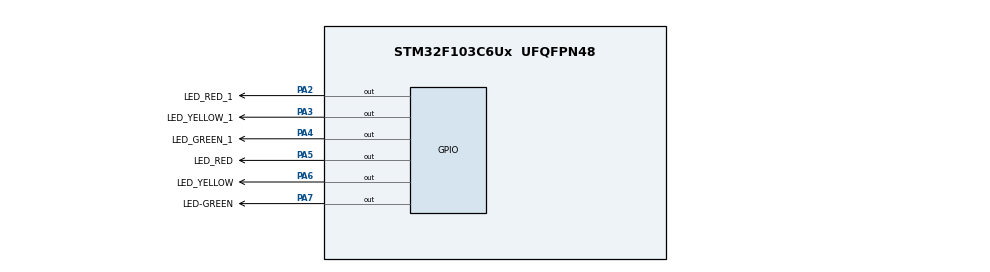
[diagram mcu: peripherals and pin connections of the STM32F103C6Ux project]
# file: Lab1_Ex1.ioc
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Mcu.Family=STM32F1
Mcu.Name=STM32F103C6Ux
Mcu.Package=UFQFPN48
NVIC.PriorityGroup=NVIC_PRIORITYGROUP_4
PA2.GPIO_Label=LED_RED_1
PA2.Signal=GPIO_Output
PA3.GPIO_Label=LED_YELLOW_1
PA3.Signal=GPIO_Output
PA4.GPIO_Label=LED_GREEN_1
PA4.Signal=GPIO_Output
PA5.GPIO_Label=LED_RED
PA5.Signal=GPIO_Output
PA6.GPIO_Label=LED_YELLOW
PA6.Signal=GPIO_Output
PA7.GPIO_Label=LED-GREEN
PA7.Signal=GPIO_Output
ProjectManager.HeapSize=0x200
ProjectManager.StackSize=0x400
ProjectManager.TargetToolchain=STM32CubeIDE
RCC.APB1Freq_Value=8000000
RCC.APB2Freq_Value=8000000
VP_SYS_VS_ND.Mode=No_Debug
board=custom

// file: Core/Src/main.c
/* USER CODE BEGIN Header */
/**
  ******************************************************************************
  * @file           : main.c
  * @brief          : Main program body
  ******************************************************************************
  * @attention
  *
  * <h2><center>&copy; Copyright (c) 2022 STMicroelectronics.
  * All rights reserved.</center></h2>
  *
  * This software component is licensed by ST under BSD 3-Clause license,
  * the "License"; You may not use this file except in compliance with the
  * License. You may obtain a copy of the License at:
  *                        opensource.org/licenses/BSD-3-Clause
  *
  ******************************************************************************
  */
/* USER CODE END Header */
#include "main.h"

void SystemClock_Config(void);
static void MX_GPIO_Init(void);

int main(void)
{

  /* MCU Configuration--------------------------------------------------------*/

  /* Reset of all peripherals, Initializes the Flash interface and the Systick. */
  HAL_Init();

  /* Configure the system clock */
  SystemClock_Config();

  /* Initialize all configured peripherals */
  MX_GPIO_Init();

  /* Infinite loop */
  /* USER CODE BEGIN WHILE */
  while (1)
  {
	  HAL_GPIO_WritePin ( LED_RED_GPIO_Port , LED_RED_Pin , SET ) ;
	  HAL_GPIO_WritePin ( LED_YELLOW_GPIO_Port , LED_YELLOW_Pin , SET ) ;
	  HAL_GPIO_WritePin ( LED_GREEN_GPIO_Port , LED_GREEN_Pin , SET ) ;
	  HAL_GPIO_WritePin ( LED_YELLOW_1_GPIO_Port , LED_YELLOW_1_Pin , SET ) ;
	  HAL_GPIO_WritePin ( LED_GREEN_1_GPIO_Port , LED_GREEN_1_Pin , SET ) ;
	  HAL_GPIO_WritePin ( LED_RED_1_GPIO_Port , LED_RED_1_Pin , SET ) ;

	  HAL_GPIO_WritePin ( LED_RED_GPIO_Port , LED_RED_Pin , RESET ) ;
	  HAL_GPIO_WritePin ( LED_GREEN_1_GPIO_Port , LED_GREEN_1_Pin , RESET ) ;
	  HAL_Delay (3000) ;

	  HAL_GPIO_WritePin ( LED_GREEN_1_GPIO_Port , LED_GREEN_1_Pin , SET ) ;
	  HAL_GPIO_WritePin ( LED_YELLOW_1_GPIO_Port , LED_YELLOW_1_Pin , RESET ) ;
	  HAL_Delay (2000) ;

	  HAL_GPIO_WritePin ( LED_YELLOW_1_GPIO_Port , LED_YELLOW_1_Pin , SET ) ;
	  HAL_GPIO_WritePin ( LED_RED_GPIO_Port , LED_RED_Pin , SET ) ;

	  HAL_GPIO_WritePin ( LED_RED_1_GPIO_Port , LED_RED_1_Pin , RESET ) ;
	  HAL_GPIO_WritePin ( LED_GREEN_GPIO_Port , LED_GREEN_Pin , RESET ) ;
	  HAL_Delay (3000) ;

	  HAL_GPIO_WritePin ( LED_GREEN_GPIO_Port , LED_GREEN_Pin , SET ) ;
	  HAL_GPIO_WritePin ( LED_YELLOW_GPIO_Port , LED_YELLOW_Pin , RESET ) ;
	  HAL_Delay (2000) ;

    /* USER CODE END WHILE */

  }
}

void SystemClock_Config(void)
{
  RCC_OscInitTypeDef RCC_OscInitStruct = {0};
  RCC_ClkInitTypeDef RCC_ClkInitStruct = {0};

  /** Initializes the RCC Oscillators according to the specified parameters
  * in the RCC_OscInitTypeDef structure.
  */
  RCC_OscInitStruct.OscillatorType = RCC_OSCILLATORTYPE_HSI;
  RCC_OscInitStruct.HSIState = RCC_HSI_ON;
  RCC_OscInitStruct.HSICalibrationValue = RCC_HSICALIBRATION_DEFAULT;
  RCC_OscInitStruct.PLL.PLLState = RCC_PLL_NONE;
  if (HAL_RCC_OscConfig(&RCC_OscInitStruct) != HAL_OK)
  {
    Error_Handler();
  }
  /** Initializes the CPU, AHB and APB buses clocks
  */
  RCC_ClkInitStruct.ClockType = RCC_CLOCKTYPE_HCLK|RCC_CLOCKTYPE_SYSCLK
                              |RCC_CLOCKTYPE_PCLK1|RCC_CLOCKTYPE_PCLK2;
  RCC_ClkInitStruct.SYSCLKSource = RCC_SYSCLKSOURCE_HSI;
  RCC_ClkInitStruct.AHBCLKDivider = RCC_SYSCLK_DIV1;
  RCC_ClkInitStruct.APB1CLKDivider = RCC_HCLK_DIV1;
  RCC_ClkInitStruct.APB2CLKDivider = RCC_HCLK_DIV1;

  if (HAL_RCC_ClockConfig(&RCC_ClkInitStruct, FLASH_LATENCY_0) != HAL_OK)
  {
    Error_Handler();
  }
}

static void MX_GPIO_Init(void)
{
  GPIO_InitTypeDef GPIO_InitStruct = {0};

  /* GPIO Ports Clock Enable */
  __HAL_RCC_GPIOA_CLK_ENABLE();

  /*Configure GPIO pin Output Level */
  HAL_GPIO_WritePin(GPIOA, LED_RED_1_Pin|LED_YELLOW_1_Pin|LED_GREEN_1_Pin|LED_RED_Pin
                          |LED_YELLOW_Pin|LED_GREEN_Pin, GPIO_PIN_RESET);

  /*Configure GPIO pins : LED_RED_1_Pin LED_YELLOW_1_Pin LED_GREEN_1_Pin LED_RED_Pin
                           LED_YELLOW_Pin LED_GREEN_Pin */
  GPIO_InitStruct.Pin = LED_RED_1_Pin|LED_YELLOW_1_Pin|LED_GREEN_1_Pin|LED_RED_Pin
                          |LED_YELLOW_Pin|LED_GREEN_Pin;
  GPIO_InitStruct.Mode = GPIO_MODE_OUTPUT_PP;
  GPIO_InitStruct.Pull = GPIO_NOPULL;
  GPIO_InitStruct.Speed = GPIO_SPEED_FREQ_LOW;
  HAL_GPIO_Init(GPIOA, &GPIO_InitStruct);

}

/* USER CODE BEGIN 4 */
void dislay7SEG(int num){
	if(num == 0){

	}
}
/* USER CODE END 4 */

void Error_Handler(void)
{
  __disable_irq();
  while (1)
  {
  }
}

/************************ (C) COPYRIGHT STMicroelectronics *****END OF FILE****/
